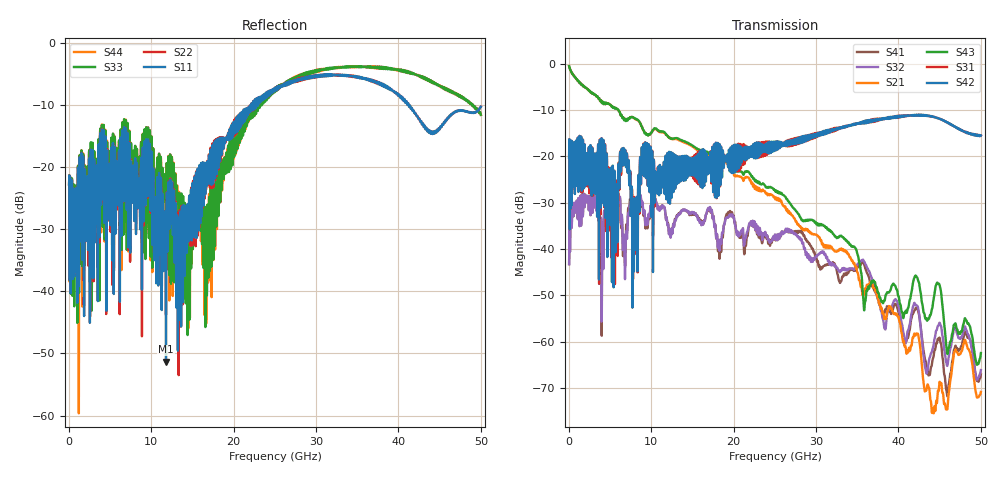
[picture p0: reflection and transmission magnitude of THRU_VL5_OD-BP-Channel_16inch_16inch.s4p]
#	Hz	S	RI	R	50
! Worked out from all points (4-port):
!   2500 points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, 20 MHz to 50 GHz, reference 50 ohm
!   strongest paths, dB at 20 MHz, 12.52 GHz, 25.02 GHz, 37.52 GHz, 50 GHz:
!     S42: -20.3, -22.7, -16.9, -12.0, -15.5
!     S31: -20.3, -21.3, -18.1, -12.0, -15.5
!     S43: -0.6, -16.3, -27.4, -49.4, -62.4
!     S21: -0.6, -16.3, -29.2, -50.5, -70.8
!     S32: -43.3, -36.5, -36.9, -50.6, -66.1
!     S41: -43.3, -36.4, -37.5, -50.9, -67.0
!   lowest |S11| = -51.3 dB at 11.78 GHz (marker M1), VSWR 1.01, Z = 49.7 - j0.0585 ohm
!   |S11| at or under -10 dB: start of sweep to 22.14 GHz; 22.2 GHz to 22.33 GHz (127.1 MHz wide, 0.571 % of centre); 41.23 GHz to end of sweep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
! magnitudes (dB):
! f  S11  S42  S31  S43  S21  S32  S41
! 20 MHz  -22.8  -20.3  -20.3  -0.6  -0.6  -43.3  -43.3
! 11.78 GHz  -51.3  -22.6  -21.4  -15.3  -15.4  -33.6  -33.6
! 16.66 GHz  -19.6  -22.3  -19.9  -19.0  -19.4  -32.4  -32.5
! 26.62 GHz  -6.3  -16.8  -16.6  -29.7  -32.0  -36.2  -36.4
! 44.24 GHz  -14.3  -11.5  -11.5  -51.0  -75.3  -60.9  -63.3
! 48.06 GHz  -11.0  -14.7  -14.8  -54.9  -59.6  -56.7  -57.9
! 50 GHz  -10.3  -15.5  -15.5  -62.4  -70.8  -66.1  -67.0
